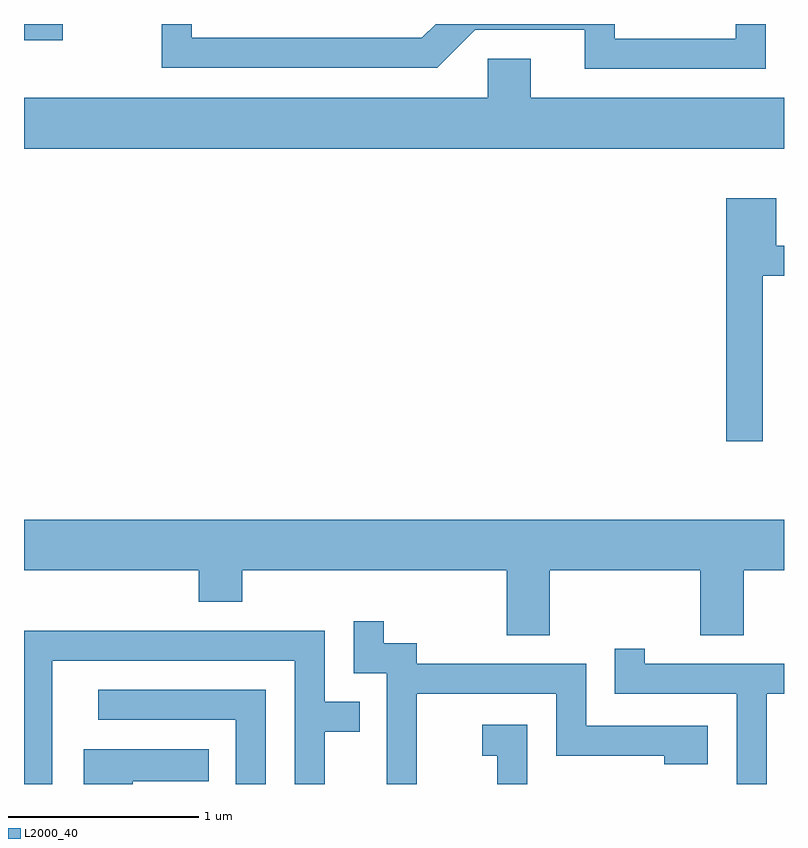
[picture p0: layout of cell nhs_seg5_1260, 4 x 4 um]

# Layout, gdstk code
import gdstk
lib = gdstk.Library(unit=1e-6, precision=1e-09)
def R(c, l, rs):  # rectangles x0, y0, x1, y1
    for r in rs: c.add(gdstk.rectangle(r[:2], r[2:], *l))
def P(c, l, *ps):  # polygons
    for p in ps: c.add(gdstk.Polygon(p, *l))
L2000_40 = (2000, 40)

nhs_seg5_1260 = lib.new_cell('nhs_seg5_1260')
R(nhs_seg5_1260, L2000_40, [(221.611,1503.986,221.814,1504.072)])
P(nhs_seg5_1260, L2000_40, [(225.514,1504.072),(225.356,1504.072),(225.356,1503.994),(224.719,1503.994),(224.719,1504.072),(223.777,1504.072),(223.704,1503.999),(222.494,1503.999),(222.494,1504.072),(222.336,1504.072),(222.336,1503.841),(223.787,1503.841),(223.987,1504.041),(224.561,1504.041),(224.561,1503.836),(225.514,1503.836)],
  [(225.611,1503.684),(224.279,1503.684),(224.279,1503.889),(224.051,1503.889),(224.051,1503.684),(221.611,1503.684),(221.611,1503.416),(225.611,1503.416)],
  [(225.499,1502.746),(225.611,1502.746),(225.611,1502.904),(225.569,1502.904),(225.569,1503.154),(225.306,1503.154),(225.306,1501.876),(225.499,1501.876)],
  [(224.379,1501.196),(225.171,1501.196),(225.171,1500.856),(225.399,1500.856),(225.399,1501.196),(225.611,1501.196),(225.611,1501.464),(221.611,1501.464),(221.611,1501.196),(222.531,1501.196),(222.531,1501.031),(222.759,1501.031),(222.759,1501.196),(224.151,1501.196),(224.151,1500.856),(224.379,1500.856)],
  [(223.679,1500.546),(224.411,1500.546),(224.411,1500.221),(224.981,1500.221),(224.981,1500.176),(225.209,1500.176),(225.209,1500.379),(224.569,1500.379),(224.569,1500.704),(223.679,1500.704),(223.679,1500.814),(223.504,1500.814),(223.504,1500.928),(223.346,1500.928),(223.346,1500.656),(223.521,1500.656),(223.521,1500.072),(223.679,1500.072)],
  [(221.759,1500.721),(223.036,1500.721),(223.036,1500.072),(223.194,1500.072),(223.194,1500.346),(223.378,1500.346),(223.378,1500.504),(223.194,1500.504),(223.194,1500.879),(221.611,1500.879),(221.611,1500.072),(221.759,1500.072)],
  [(225.519,1500.546),(225.611,1500.546),(225.611,1500.704),(224.879,1500.704),(224.879,1500.783),(224.721,1500.783),(224.721,1500.546),(225.361,1500.546),(225.361,1500.072),(225.519,1500.072)],
  [(222.884,1500.569),(222.003,1500.569),(222.003,1500.411),(222.726,1500.411),(222.726,1500.072),(222.884,1500.072)],
  [(224.259,1500.384),(224.023,1500.384),(224.023,1500.221),(224.101,1500.221),(224.101,1500.072),(224.259,1500.072)],
  [(222.184,1500.086),(222.583,1500.086),(222.583,1500.254),(221.926,1500.254),(221.926,1500.072),(222.184,1500.072)])

lib.write_gds('nhs_seg5_1260.gds')
